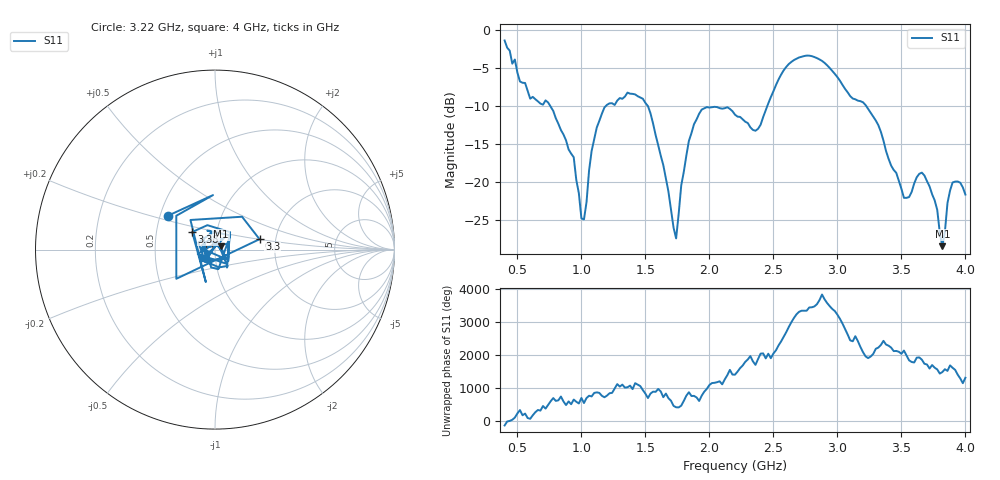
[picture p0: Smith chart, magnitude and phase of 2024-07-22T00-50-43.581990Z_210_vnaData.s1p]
!Created with skrf (http://scikit-rf.org).
# Hz S RI R 50.0
!freq ReS11 ImS11
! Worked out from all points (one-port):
!   181 points, 400 MHz to 4 GHz, reference 50 ohm
!   lowest |S11| = -28.4 dB at 3.82 GHz (marker M1), VSWR 1.08, Z = 53.4 + j1.93 ohm
!   |S11| at or under -10 dB: 757.7 MHz to 1.189 GHz (431.4 MHz wide, 44.3 % of centre); 1.52 GHz to 2.452 GHz (931.3 MHz wide, 46.9 % of centre); 3.226 GHz to end of sweep
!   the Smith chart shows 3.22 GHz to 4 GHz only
!   S11 on the Smith chart (normalised r, x): 3.22 GHz: 0.55, +0.23; 3.3 GHz: 1.64, +0.20; 3.38 GHz: 0.76, +0.15; 4 GHz: 0.87, -0.09
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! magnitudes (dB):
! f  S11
! 400 MHz  -1.3
! 600 MHz  -9.0
! 740 MHz  -9.5
! 860 MHz  -13.7
! 940 MHz  -16.7
! 1 GHz  -24.8
! 1.02 GHz  -24.9
! 1.12 GHz  -12.8
! 1.3 GHz  -8.9
! 1.52 GHz  -10.0
! 1.74 GHz  -27.4
! 1.76 GHz  -24.2
! 1.84 GHz  -14.5
! 1.92 GHz  -11.0
! 2.2 GHz  -11.1
! 2.38 GHz  -13.0
! 2.66 GHz  -3.9
! 2.88 GHz  -4.0
! 3.1 GHz  -8.7
! 3.22 GHz  -9.8
! 3.3 GHz  -11.9
! 3.38 GHz  -15.9
! 3.56 GHz  -22.0
! 3.68 GHz  -19.1
! 3.78 GHz  -23.6
! 3.82 GHz  -28.4
! 3.9 GHz  -20.0
! 4 GHz  -21.6
